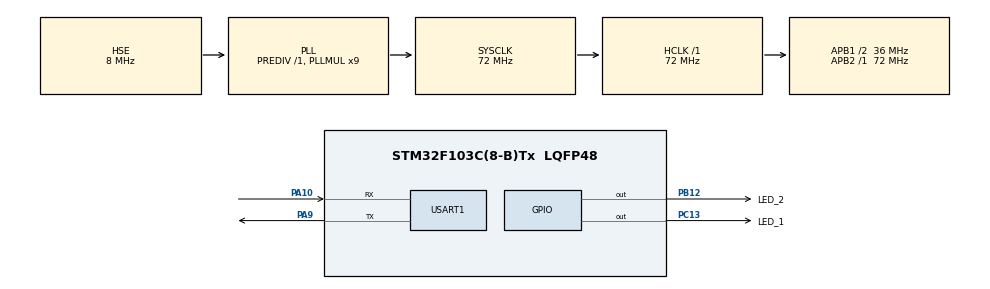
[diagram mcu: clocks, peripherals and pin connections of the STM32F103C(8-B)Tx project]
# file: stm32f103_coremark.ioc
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Mcu.Family=STM32F1
Mcu.Name=STM32F103C(8-B)Tx
Mcu.Package=LQFP48
NVIC.PriorityGroup=NVIC_PRIORITYGROUP_4
PA10.Mode=Asynchronous
PA10.Signal=USART1_RX
PA13.Mode=Serial_Wire
PA13.Signal=SYS_JTMS-SWDIO
PA14.Mode=Serial_Wire
PA14.Signal=SYS_JTCK-SWCLK
PA9.Mode=Asynchronous
PA9.Signal=USART1_TX
PB12.GPIO_Label=LED_2
PB12.Signal=GPIO_Output
PC13-TAMPER-RTC.GPIO_Label=LED_1
PC13-TAMPER-RTC.Signal=GPIO_Output
PD0-OSC_IN.Mode=HSE-External-Oscillator
PD0-OSC_IN.Signal=RCC_OSC_IN
PD1-OSC_OUT.Mode=HSE-External-Oscillator
PD1-OSC_OUT.Signal=RCC_OSC_OUT
ProjectManager.HeapSize=0x200
ProjectManager.StackSize=0xa00
ProjectManager.TargetToolchain=Makefile
RCC.AHBFreq_Value=72000000
RCC.APB1CLKDivider=RCC_HCLK_DIV2
RCC.APB1Freq_Value=36000000
RCC.APB1TimFreq_Value=72000000
RCC.APB2Freq_Value=72000000
RCC.APB2TimFreq_Value=72000000
RCC.HCLKFreq_Value=72000000
RCC.PLLMUL=RCC_PLL_MUL9
RCC.PLLSourceVirtual=RCC_PLLSOURCE_HSE
RCC.SYSCLKFreq_VALUE=72000000
RCC.SYSCLKSource=RCC_SYSCLKSOURCE_PLLCLK
RCC.USBFreq_Value=72000000
USART1.VirtualMode=VM_ASYNC
board=custom

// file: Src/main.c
/* USER CODE BEGIN Header */
/**
  ******************************************************************************
  * @file           : main.c
  * @brief          : Main program body
  ******************************************************************************
  * @attention
  *
  * Copyright (c) 2022 STMicroelectronics.
  * All rights reserved.
  *
  * This software is licensed under terms that can be found in the LICENSE file
  * in the root directory of this software component.
  * If no LICENSE file comes with this software, it is provided AS-IS.
  *
  ******************************************************************************
  */
/* USER CODE END Header */
#include "main.h"

/* USER CODE BEGIN Includes */
#include "stdio.h"
/* USER CODE END Includes */

 UART_HandleTypeDef huart1;

void SystemClock_Config(void);
static void MX_GPIO_Init(void);
static void MX_USART1_UART_Init(void);

/* USER CODE BEGIN 0 */
#if defined(__CC_ARM) || (defined(__ARMCC_VERSION) && (__ARMCC_VERSION >= 6010050))
int fputc(int ch, FILE *f)
{
    HAL_UART_Transmit(&huart1, (uint8_t *)&ch, 1, HAL_MAX_DELAY);
    return ch;
}
#elif defined(__GNUC__)
int _write(int fd, char * ptr, int len)
{
  HAL_UART_Transmit(&huart1, (uint8_t *) ptr, len, HAL_MAX_DELAY);
  return len;
}
#elif defined (__ICCARM__)
#include "LowLevelIOInterface.h"
size_t __write(int handle, const unsigned char * buffer, size_t size)
{
  HAL_UART_Transmit(&huart1, (uint8_t *) buffer, size, HAL_MAX_DELAY);
  return size;
}
#endif

void SystemClock_Config_Ex(void)
{
  RCC_OscInitTypeDef RCC_OscInitStruct = {0};
  RCC_ClkInitTypeDef RCC_ClkInitStruct = {0};

  /** Initializes the RCC Oscillators according to the specified parameters
  * in the RCC_OscInitTypeDef structure.
  */
  RCC_OscInitStruct.OscillatorType = RCC_OSCILLATORTYPE_HSE;
  RCC_OscInitStruct.HSEState = RCC_HSE_ON;
  RCC_OscInitStruct.HSEPredivValue = RCC_HSE_PREDIV_DIV1;
  RCC_OscInitStruct.HSIState = RCC_HSI_ON;
  RCC_OscInitStruct.PLL.PLLState = RCC_PLL_ON;
  RCC_OscInitStruct.PLL.PLLSource = RCC_PLLSOURCE_HSE;
#if defined (SYSTEM_CLOCK_72M)
  #warning "SYSTEM_CLOCK_72M"
  RCC_OscInitStruct.PLL.PLLMUL = RCC_PLL_MUL9;
#elif defined (SYSTEM_CLOCK_64M)
  #warning "SYSTEM_CLOCK_64M"
  RCC_OscInitStruct.PLL.PLLMUL = RCC_PLL_MUL8;
#elif defined (SYSTEM_CLOCK_48M)
  #warning "SYSTEM_CLOCK_48M"
  RCC_OscInitStruct.PLL.PLLMUL = RCC_PLL_MUL6;
#elif defined (SYSTEM_CLOCK_32M)
  #warning "SYSTEM_CLOCK_32M"
  RCC_OscInitStruct.PLL.PLLMUL = RCC_PLL_MUL4;
#elif defined (SYSTEM_CLOCK_24M)
  #warning "SYSTEM_CLOCK_24M"
  RCC_OscInitStruct.PLL.PLLMUL = RCC_PLL_MUL3;
#else
  #warning "SYSTE_CLOCK not defined, use SYSTEM_CLOCK_72M"
  RCC_OscInitStruct.PLL.PLLMUL = RCC_PLL_MUL9;
#endif
  if (HAL_RCC_OscConfig(&RCC_OscInitStruct) != HAL_OK)
  {
    Error_Handler();
  }

  /** Initializes the CPU, AHB and APB buses clocks
  */
  RCC_ClkInitStruct.ClockType = RCC_CLOCKTYPE_HCLK|RCC_CLOCKTYPE_SYSCLK
                              |RCC_CLOCKTYPE_PCLK1|RCC_CLOCKTYPE_PCLK2;
  RCC_ClkInitStruct.SYSCLKSource = RCC_SYSCLKSOURCE_PLLCLK;
  RCC_ClkInitStruct.AHBCLKDivider = RCC_SYSCLK_DIV1;
  RCC_ClkInitStruct.APB1CLKDivider = RCC_HCLK_DIV2;
  RCC_ClkInitStruct.APB2CLKDivider = RCC_HCLK_DIV1;

#if defined (SYSTEM_CLOCK_72M) | (SYSTEM_CLOCK_64M)
  if (HAL_RCC_ClockConfig(&RCC_ClkInitStruct, FLASH_LATENCY_2) != HAL_OK)
#elif defined (SYSTEM_CLOCK_48M) | (SYSTEM_CLOCK_32M)
  if (HAL_RCC_ClockConfig(&RCC_ClkInitStruct, FLASH_LATENCY_1) != HAL_OK)
#elif defined (SYSTEM_CLOCK_24M)
  if (HAL_RCC_ClockConfig(&RCC_ClkInitStruct, FLASH_LATENCY_0) != HAL_OK)
#else
  if (HAL_RCC_ClockConfig(&RCC_ClkInitStruct, FLASH_LATENCY_2) != HAL_OK)
#endif
  {
    Error_Handler();
  }
}

void platform_init(void)
{
  HAL_Init();
  SystemClock_Config_Ex();
  MX_GPIO_Init();
  MX_USART1_UART_Init();
}

/* USER CODE END 0 */

void SystemClock_Config(void)
{
  RCC_OscInitTypeDef RCC_OscInitStruct = {0};
  RCC_ClkInitTypeDef RCC_ClkInitStruct = {0};

  /** Initializes the RCC Oscillators according to the specified parameters
  * in the RCC_OscInitTypeDef structure.
  */
  RCC_OscInitStruct.OscillatorType = RCC_OSCILLATORTYPE_HSE;
  RCC_OscInitStruct.HSEState = RCC_HSE_ON;
  RCC_OscInitStruct.HSEPredivValue = RCC_HSE_PREDIV_DIV1;
  RCC_OscInitStruct.HSIState = RCC_HSI_ON;
  RCC_OscInitStruct.PLL.PLLState = RCC_PLL_ON;
  RCC_OscInitStruct.PLL.PLLSource = RCC_PLLSOURCE_HSE;
  RCC_OscInitStruct.PLL.PLLMUL = RCC_PLL_MUL9;
  if (HAL_RCC_OscConfig(&RCC_OscInitStruct) != HAL_OK)
  {
    Error_Handler();
  }

  /** Initializes the CPU, AHB and APB buses clocks
  */
  RCC_ClkInitStruct.ClockType = RCC_CLOCKTYPE_HCLK|RCC_CLOCKTYPE_SYSCLK
                              |RCC_CLOCKTYPE_PCLK1|RCC_CLOCKTYPE_PCLK2;
  RCC_ClkInitStruct.SYSCLKSource = RCC_SYSCLKSOURCE_PLLCLK;
  RCC_ClkInitStruct.AHBCLKDivider = RCC_SYSCLK_DIV1;
  RCC_ClkInitStruct.APB1CLKDivider = RCC_HCLK_DIV2;
  RCC_ClkInitStruct.APB2CLKDivider = RCC_HCLK_DIV1;

  if (HAL_RCC_ClockConfig(&RCC_ClkInitStruct, FLASH_LATENCY_2) != HAL_OK)
  {
    Error_Handler();
  }
}

static void MX_USART1_UART_Init(void)
{

  huart1.Instance = USART1;
  huart1.Init.BaudRate = 115200;
  huart1.Init.WordLength = UART_WORDLENGTH_8B;
  huart1.Init.StopBits = UART_STOPBITS_1;
  huart1.Init.Parity = UART_PARITY_NONE;
  huart1.Init.Mode = UART_MODE_TX_RX;
  huart1.Init.HwFlowCtl = UART_HWCONTROL_NONE;
  huart1.Init.OverSampling = UART_OVERSAMPLING_16;
  if (HAL_UART_Init(&huart1) != HAL_OK)
  {
    Error_Handler();
  }

}

static void MX_GPIO_Init(void)
{
  GPIO_InitTypeDef GPIO_InitStruct = {0};

  /* GPIO Ports Clock Enable */
  __HAL_RCC_GPIOC_CLK_ENABLE();
  __HAL_RCC_GPIOD_CLK_ENABLE();
  __HAL_RCC_GPIOB_CLK_ENABLE();
  __HAL_RCC_GPIOA_CLK_ENABLE();

  /*Configure GPIO pin Output Level */
  HAL_GPIO_WritePin(LED_1_GPIO_Port, LED_1_Pin, GPIO_PIN_RESET);

  /*Configure GPIO pin Output Level */
  HAL_GPIO_WritePin(LED_2_GPIO_Port, LED_2_Pin, GPIO_PIN_RESET);

  /*Configure GPIO pin : LED_1_Pin */
  GPIO_InitStruct.Pin = LED_1_Pin;
  GPIO_InitStruct.Mode = GPIO_MODE_OUTPUT_PP;
  GPIO_InitStruct.Pull = GPIO_NOPULL;
  GPIO_InitStruct.Speed = GPIO_SPEED_FREQ_LOW;
  HAL_GPIO_Init(LED_1_GPIO_Port, &GPIO_InitStruct);

  /*Configure GPIO pin : LED_2_Pin */
  GPIO_InitStruct.Pin = LED_2_Pin;
  GPIO_InitStruct.Mode = GPIO_MODE_OUTPUT_PP;
  GPIO_InitStruct.Pull = GPIO_NOPULL;
  GPIO_InitStruct.Speed = GPIO_SPEED_FREQ_LOW;
  HAL_GPIO_Init(LED_2_GPIO_Port, &GPIO_InitStruct);

}

void Error_Handler(void)
{
  __disable_irq();
  while (1)
  {
  }
}
